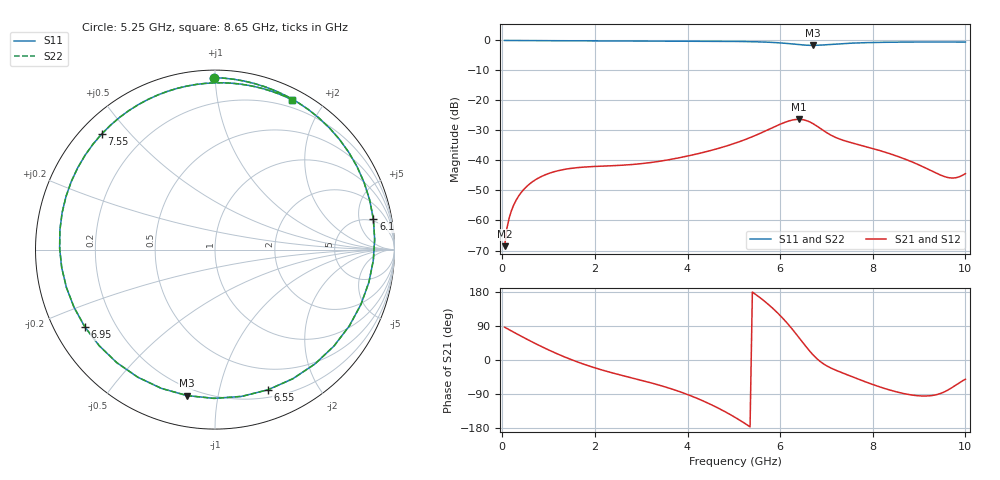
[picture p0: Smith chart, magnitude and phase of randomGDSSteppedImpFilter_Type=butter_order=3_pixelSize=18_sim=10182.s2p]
! freq	dB(S11)	phase(S11)	dB(S12)	phase(S12)
!  dB(S21)	phase(S21)	dB(S22)	phase(S22)
!S-par simulation data
#  GHz  S  DB  R 50
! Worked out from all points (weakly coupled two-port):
!   200 points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, 50 MHz to 10 GHz, reference 50 ohm
!   highest |S21| = -26.29 dB at 6.4 GHz (marker M1); lowest = -68.6 dB at 50 MHz (marker M2)
!   lowest |S11| = -1.6 dB at 6.7 GHz (marker M3), VSWR 10.64, Z = 7.84 - j40.6 ohm
!   |S11| at or under -10 dB: nowhere
!   |S22| runs from -1.6 to 0.0 dB; largest |S21 - S12| = 0
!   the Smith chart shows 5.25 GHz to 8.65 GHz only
!   S11 on the Smith chart (normalised r, x): 5.25 GHz: 0.04, +0.99; 6.1 GHz: 4.55, +7.97; 6.55 GHz: 0.27, -1.41; 6.95 GHz: 0.09, -0.27; 7.55 GHz: 0.06, +0.42; 8.65 GHz: 0.12, +1.63
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0.05  -0.00 -3.4  -68.55 86.6  -68.55 86.6  -0.00 -3.4
0.2  -0.02 -13.5  -56.61 76.4  -56.61 76.4  -0.02 -13.5
0.5  -0.04 -33.2  -49.07 56.8  -49.07 56.8  -0.04 -33.2
1.1  -0.09 -70.5  -43.84 21.0  -43.84 21.0  -0.09 -70.5
1.75  -0.12 -106.3  -42.21 -10.7  -42.21 -10.7  -0.12 -106.2
2.6  -0.15 -146.6  -41.56 -41.2  -41.56 -41.2  -0.15 -146.6
3.4  -0.18 179.2  -40.25 -66.7  -40.25 -66.7  -0.18 179.2
4.25  -0.23 142.7  -37.65 -103.5  -37.65 -103.5  -0.23 142.7
5.05  -0.33 102.6  -34.12 -153.0  -34.12 -153.0  -0.33 102.7
5.25  -0.37 90.4  -32.99 -168.3  -32.99 -168.3  -0.37 90.5
5.7  -0.56 56.1  -30.03 151.3  -30.03 151.3  -0.56 56.3
6.1  -0.93 10.8  -27.30 104.4  -27.30 104.4  -0.93 11.1
6.4  -1.38 -39.2  -26.29 60.1  -26.29 60.1  -1.38 -38.8
6.55  -1.57 -69.5  -26.62 36.6  -26.62 36.6  -1.57 -69.0
6.7  -1.64 -101.0  -27.64 15.0  -27.64 15.0  -1.64 -100.6
6.95  -1.48 -149.3  -30.19 -11.4  -30.19 -11.4  -1.48 -149.0
7.2  -1.20 172.7  -32.34 -26.9  -32.34 -26.9  -1.20 172.9
7.55  -0.90 134.4  -34.14 -43.9  -34.14 -43.9  -0.90 134.6
8.35  -0.59 78.7  -37.65 -78.6  -37.65 -78.6  -0.59 78.7
8.65  -0.55 62.9  -39.26 -88.0  -39.26 -88.0  -0.55 62.9
9.6  -0.51 20.3  -45.60 -80.8  -45.60 -80.8  -0.51 20.3
10  -0.54 4.5  -44.37 -50.8  -44.37 -50.8  -0.54 4.5
